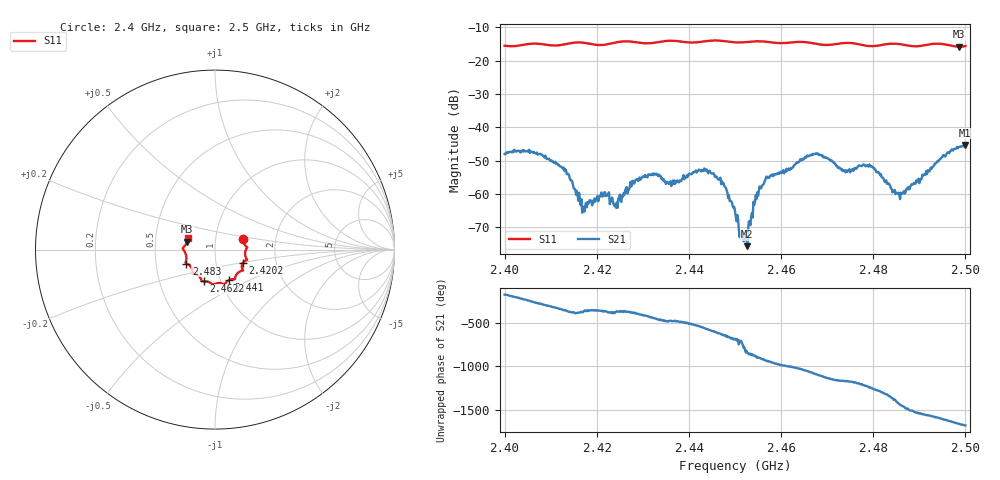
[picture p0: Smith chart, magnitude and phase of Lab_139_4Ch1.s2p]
# Hz S RI R 50
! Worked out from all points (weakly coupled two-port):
!   601 points, 2.4 GHz to 2.5 GHz, reference 50 ohm
!   highest |S21| = -45.33 dB at 2.4998 GHz (marker M1); lowest = -75.7 dB at 2.4527 GHz (marker M2)
!   lowest |S11| = -15.8 dB at 2.4987 GHz (marker M3), VSWR 1.39, Z = 36.4 + j3.29 ohm
!   |S11| at or under -10 dB: start of sweep to end of sweep
!   S12 and S22 are empty: the file has one direction only
!   S11 on the Smith chart (normalised r, x): 2.4 GHz: 1.36, +0.17; 2.4202 GHz: 1.35, -0.20; 2.441 GHz: 1.10, -0.39; 2.4622 GHz: 0.83, -0.30; 2.483 GHz: 0.72, -0.12; 2.5 GHz: 0.73, +0.09
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2.4e9  0.1563 0.0602  -0.00396 -0.000227  0 0  0 0
2.4115e9  0.1674 -0.0246  0.00249 0.00136  0 0  0 0
2.416667e9  0.1777 -0.0583  0.000805 -0.000196  0 0  0 0
2.420167e9  0.1564 -0.0721  0.000933 -3.82e-05  0 0  0 0
2.424e9  0.1524 -0.1074  0.000645 -0.000237  0 0  0 0
2.428167e9  0.1501 -0.1177  0.0012 -0.000779  0 0  0 0
2.433333e9  0.1131 -0.1524  -0.0004 -0.00179  0 0  0 0
2.441e9  0.0769 -0.1705  -0.002 -0.000623  0 0  0 0
2.446333e9  0.0509 -0.1939  -0.000258 0.00162  0 0  0 0
2.45e9  0.0267 -0.1862  0.000452 0.000318  0 0  0 0
2.4515e9  0.0119 -0.1876  0.000239 -4.42e-05  0 0  0 0
2.452667e9  0.00209 -0.1907  -9.01e-05 -0.000136  0 0  0 0
2.456667e9  -0.0168 -0.192  -0.00138 0.000992  0 0  0 0
2.462167e9  -0.0629 -0.1767  0.000569 0.00239  0 0  0 0
2.466667e9  -0.0767 -0.167  0.00372 0.000638  0 0  0 0
2.479333e9  -0.1318 -0.0996  -0.00255 -0.000732  0 0  0 0
2.483e9  -0.1592 -0.078  -0.000633 0.00126  0 0  0 0
2.483333e9  -0.1609 -0.0773  -0.000285 0.00141  0 0  0 0
2.486333e9  -0.1619 -0.0654  0.000965 -0.000267  0 0  0 0
2.498667e9  -0.1557 0.044  -0.00379 0.00335  0 0  0 0
2.499833e9  -0.1529 0.0604  -0.00289 0.00458  0 0  0 0
2.5e9  -0.1528 0.0629  -0.00271 0.00458  0 0  0 0
